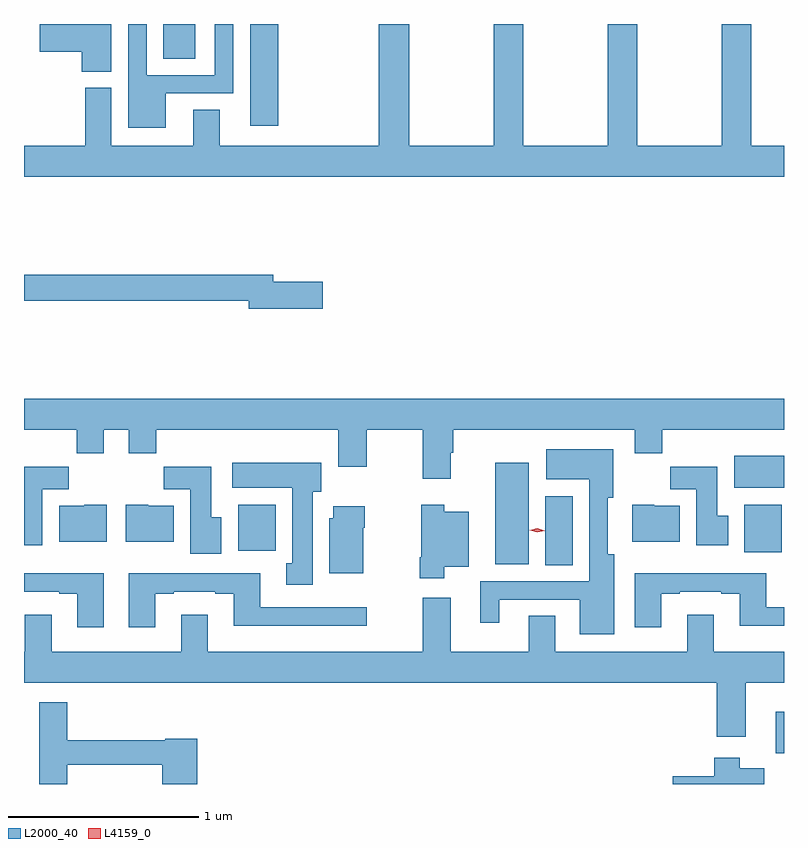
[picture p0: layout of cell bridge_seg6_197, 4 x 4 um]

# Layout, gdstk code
import gdstk
lib = gdstk.Library(unit=1e-6, precision=1e-09)
def R(c, l, rs):  # rectangles x0, y0, x1, y1
    for r in rs: c.add(gdstk.rectangle(r[:2], r[2:], *l))
def P(c, l, *ps):  # polygons
    for p in ps: c.add(gdstk.Polygon(p, *l))
L2000_40 = (2000, 40)
L4159_0 = (4159, 0)

bridge_seg6_197 = lib.new_cell('bridge_seg6_197')
R(bridge_seg6_197, L2000_40, [(295.544,972.273,295.588,972.493), (294.332,973.264,294.475,973.627), (294.068,973.268,294.244,973.804), (295.379,973.332,295.575,973.582), (292.715,973.34,292.912,973.582), (295.325,973.67,295.588,973.84), (292.778,975.576,292.925,976.112), (292.322,975.928,292.489,976.112)])
P(bridge_seg6_197, L2000_40, [(295.588,975.472),(295.416,975.472),(295.416,976.112),(295.261,976.112),(295.261,975.472),(294.816,975.472),(294.816,976.112),(294.661,976.112),(294.661,975.472),(294.216,975.472),(294.216,976.112),(294.061,976.112),(294.061,975.472),(293.616,975.472),(293.616,976.112),(293.456,976.112),(293.456,975.472),(292.618,975.472),(292.618,975.662),(292.478,975.662),(292.478,975.472),(292.048,975.472),(292.048,975.777),(291.91,975.777),(291.91,975.472),(291.588,975.472),(291.588,975.308),(295.588,975.308)],
  [(292.048,976.112),(291.672,976.112),(291.672,975.965),(291.892,975.965),(291.892,975.862),(292.048,975.862)],
  [(292.333,975.747),(292.689,975.747),(292.689,976.112),(292.593,976.112),(292.593,975.843),(292.233,975.843),(292.233,976.112),(292.137,976.112),(292.137,975.566),(292.333,975.566)],
  [(293.161,974.756),(292.9,974.756),(292.9,974.792),(291.588,974.792),(291.588,974.656),(292.772,974.656),(292.772,974.614),(293.161,974.614)],
  [(293.833,973.856),(293.846,973.856),(293.846,973.976),(294.803,973.976),(294.803,973.852),(294.947,973.852),(294.947,973.976),(295.588,973.976),(295.588,974.14),(291.588,974.14),(291.588,973.976),(291.865,973.976),(291.865,973.852),(292.009,973.852),(292.009,973.976),(292.139,973.976),(292.139,973.852),(292.283,973.852),(292.283,973.976),(293.243,973.976),(293.243,973.782),(293.391,973.782),(293.391,973.976),(293.686,973.976),(293.686,973.719),(293.833,973.719)],
  [(294.694,973.321),(294.66,973.321),(294.66,973.619),(294.688,973.619),(294.688,973.873),(294.336,973.873),(294.336,973.715),(294.564,973.715),(294.564,973.179),(293.99,973.179),(293.99,972.96),(294.088,972.96),(294.088,973.083),(294.512,973.083),(294.512,972.899),(294.694,972.899)],
  [(293.107,973.65),(293.152,973.65),(293.152,973.804),(292.683,973.804),(292.683,973.67),(293,973.67),(293,973.274),(292.967,973.274),(292.967,973.161),(293.107,973.161)],
  [(291.685,973.664),(291.824,973.664),(291.824,973.783),(291.588,973.783),(291.588,973.368),(291.685,973.368)],
  [(292.627,973.516),(292.573,973.516),(292.573,973.783),(292.324,973.783),(292.324,973.664),(292.463,973.664),(292.463,973.323),(292.627,973.323)],
  [(295.294,973.524),(295.237,973.524),(295.237,973.782),(294.988,973.782),(294.988,973.664),(295.127,973.664),(295.127,973.368),(295.294,973.368)],
  [(292.024,973.582),(291.906,973.582),(291.906,973.576),(291.773,973.576),(291.773,973.388),(292.024,973.388)],
  [(292.375,973.576),(292.242,973.576),(292.242,973.582),(292.124,973.582),(292.124,973.388),(292.375,973.388)],
  [(295.039,973.576),(294.906,973.576),(294.906,973.582),(294.788,973.582),(294.788,973.388),(295.039,973.388)],
  [(293.8,973.256),(293.929,973.256),(293.929,973.546),(293.8,973.546),(293.8,973.582),(293.678,973.582),(293.678,973.306),(293.671,973.306),(293.671,973.194),(293.8,973.194)],
  [(293.374,973.46),(293.382,973.46),(293.382,973.573),(293.216,973.573),(293.216,973.512),(293.195,973.512),(293.195,973.22),(293.374,973.22)],
  [(292.009,973.222),(291.588,973.222),(291.588,973.125),(291.773,973.125),(291.773,973.113),(291.869,973.113),(291.869,972.936),(292.009,972.936)],
  [(292.279,973.113),(292.375,973.113),(292.375,973.125),(292.595,973.125),(292.595,973.113),(292.691,973.113),(292.691,972.944),(293.392,972.944),(293.392,973.041),(292.831,973.041),(292.831,973.221),(292.367,973.221),(292.367,973.222),(292.139,973.222),(292.139,972.936),(292.279,972.936)],
  [(294.943,973.113),(295.039,973.113),(295.039,973.125),(295.259,973.125),(295.259,973.113),(295.355,973.113),(295.355,972.944),(295.588,972.944),(295.588,973.041),(295.495,973.041),(295.495,973.222),(294.803,973.222),(294.803,972.936),(294.943,972.936)],
  [(295.387,972.644),(295.588,972.644),(295.588,972.808),(295.219,972.808),(295.219,973.003),(295.079,973.003),(295.079,972.808),(294.385,972.808),(294.385,972.998),(294.245,972.998),(294.245,972.808),(293.833,972.808),(293.833,973.093),(293.686,973.093),(293.686,972.808),(292.555,972.808),(292.555,973.003),(292.415,973.003),(292.415,972.808),(291.733,972.808),(291.733,973.003),(291.593,973.003),(291.593,972.808),(291.588,972.808),(291.588,972.644),(295.235,972.644),(295.235,972.36),(295.387,972.36)],
  [(291.815,972.214),(292.316,972.214),(292.316,972.112),(292.499,972.112),(292.499,972.351),(292.332,972.351),(292.332,972.343),(291.815,972.343),(291.815,972.541),(291.668,972.541),(291.668,972.112),(291.815,972.112)],
  [(295.483,972.196),(295.354,972.196),(295.354,972.25),(295.22,972.25),(295.22,972.152),(295.002,972.152),(295.002,972.112),(295.483,972.112)])
P(bridge_seg6_197, L4159_0, [(294.289,973.437),(294.249,973.447),(294.248,973.448),(294.249,973.448),(294.289,973.457),(294.329,973.446),(294.329,973.446),(294.329,973.446)])

lib.write_gds('bridge_seg6_197.gds')
